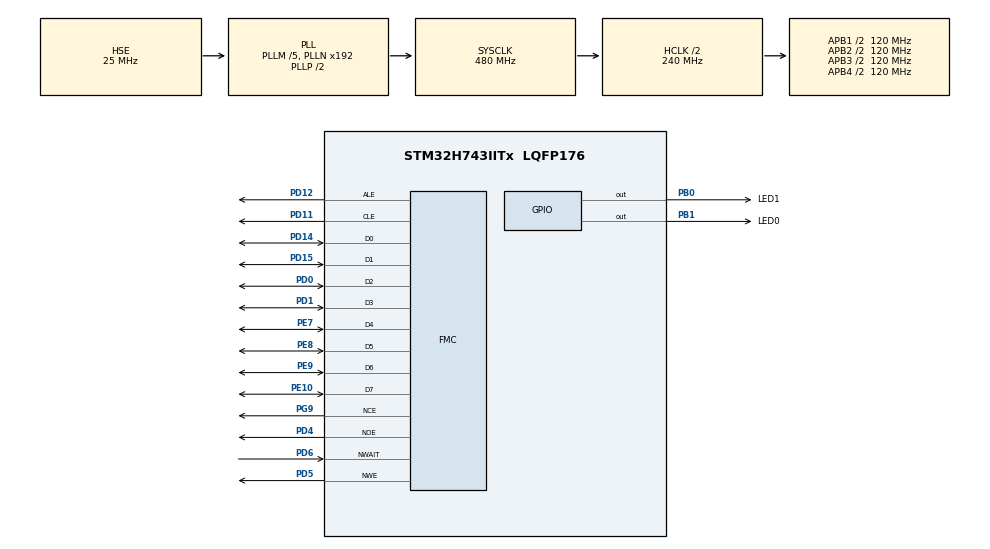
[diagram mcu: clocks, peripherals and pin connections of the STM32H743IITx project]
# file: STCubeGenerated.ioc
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CORTEX_M7.AccessPermission-Cortex_Memory_Protection_Unit_Region0_Settings=MPU_REGION_FULL_ACCESS
CORTEX_M7.BaseAddress-Cortex_Memory_Protection_Unit_Region0_Settings=0x80000000
CORTEX_M7.DisableExec-Cortex_Memory_Protection_Unit_Region0_Settings=MPU_INSTRUCTION_ACCESS_DISABLE
CORTEX_M7.Enable-Cortex_Memory_Protection_Unit_Region0_Settings=MPU_REGION_ENABLE
CORTEX_M7.IsBufferable-Cortex_Memory_Protection_Unit_Region0_Settings=MPU_ACCESS_NOT_BUFFERABLE
CORTEX_M7.MPU_Control=MPU_PRIVILEGED_DEFAULT
CORTEX_M7.Size-Cortex_Memory_Protection_Unit_Region0_Settings=MPU_REGION_SIZE_512MB
FMC.AttributeSpaceHiZSetupTime1=9
FMC.AttributeSpaceHoldSetupTime1=10
FMC.AttributeSpaceSetupTime1=9
FMC.AttributeSpaceWaitSetupTime1=9
FMC.CommonSpaceHiZSetupTime1=9
FMC.CommonSpaceHoldSetupTime1=10
FMC.CommonSpaceSetupTime1=9
FMC.CommonSpaceWaitSetupTime1=9
FMC.ECCPageSize1=FMC_NAND_ECC_PAGE_SIZE_2048BYTE
FMC.EccComputation1=FMC_NAND_ECC_ENABLE
FMC.NandBlockNbr1=4096
FMC.NandBlockSize1=64
FMC.NandExtraCommandEnable1=ENABLE
FMC.NandPageSize1=2048
FMC.NandPlaneNbr1=1
FMC.NandPlaneSize1=4096
FMC.NandSpareAreaSize1=64
FMC.TARSetupTime1=2
FMC.TCLRSetupTime1=2
FREERTOS.Tasks01=defaultTask,24,128,StartDefaultTask,Default,NULL,Dynamic,NULL,NULL
Mcu.Family=STM32H7
Mcu.Name=STM32H743IITx
Mcu.Package=LQFP176
NVIC.PriorityGroup=NVIC_PRIORITYGROUP_4
NVIC.TIM6_DAC_IRQn=true\:15\:0\:false\:false\:true\:false\:false\:true\:true
NVIC.TimeBase=TIM6_DAC_IRQn
NVIC.TimeBaseIP=TIM6
PA13\ (JTMS/SWDIO).Mode=Serial_Wire
PA13\ (JTMS/SWDIO).Signal=DEBUG_JTMS-SWDIO
PA14\ (JTCK/SWCLK).Mode=Serial_Wire
PA14\ (JTCK/SWCLK).Signal=DEBUG_JTCK-SWCLK
PB0.GPIO_Label=LED1
PB0.PinState=GPIO_PIN_SET
PB0.Signal=GPIO_Output
PB1.GPIO_Label=LED0
PB1.Signal=GPIO_Output
PD0.Signal=FMC_D2_DA2
PD1.Signal=FMC_D3_DA3
PD11.Signal=FMC_A16_CLE
PD12.Signal=FMC_A17_ALE
PD14.Signal=FMC_D0_DA0
PD15.Signal=FMC_D1_DA1
PD4.Signal=FMC_NOE
PD5.Signal=FMC_NWE
PD6.GPIO_PuPd=GPIO_PULLUP
PD6.Signal=FMC_NWAIT
PE10.Signal=FMC_D7_DA7
PE7.Signal=FMC_D4_DA4
PE8.Signal=FMC_D5_DA5
PE9.Signal=FMC_D6_DA6
PG9.Mode=NandChipSelect3_1
PG9.Signal=FMC_NCE
PH0-OSC_IN\ (PH0).Mode=HSE-External-Oscillator
PH0-OSC_IN\ (PH0).Signal=RCC_OSC_IN
PH1-OSC_OUT\ (PH1).Mode=HSE-External-Oscillator
PH1-OSC_OUT\ (PH1).Signal=RCC_OSC_OUT
ProjectManager.HeapSize=0x200
ProjectManager.StackSize=0x400
ProjectManager.TargetToolchain=MDK-ARM V5
RCC.ADCFreq_Value=260000000
RCC.APB1Freq_Value=120000000
RCC.APB2Freq_Value=120000000
RCC.APB3Freq_Value=120000000
RCC.APB4Freq_Value=120000000
RCC.CortexFreq_Value=480000000
RCC.D1PPRE=RCC_APB3_DIV2
RCC.D2PPRE1=RCC_APB1_DIV2
RCC.D2PPRE2=RCC_APB2_DIV2
RCC.D3PPRE=RCC_APB4_DIV2
RCC.DIVM1=5
RCC.DIVM2=5
RCC.DIVN1=192
RCC.DIVN2=104
RCC.FMCCLockSelection=RCC_FMCCLKSOURCE_PLL2
RCC.HCLKFreq_Value=240000000
RCC.HPRE=RCC_HCLK_DIV2
RCC.PLLSourceVirtual=RCC_PLLSOURCE_HSE
RCC.ProductRev=revV
RCC.SYSCLKFreq_VALUE=480000000
RCC.SYSCLKSource=RCC_SYSCLKSOURCE_PLLCLK
RCC.USBFreq_Value=480000000
SH.FMC_A16_CLE.0=FMC_CLE,8b-dmux1
SH.FMC_A17_ALE.0=FMC_ALE,8b-dmux1
SH.FMC_D0_DA0.0=FMC_D0,8b-dmux1
SH.FMC_D1_DA1.0=FMC_D1,8b-dmux1
SH.FMC_D2_DA2.0=FMC_D2,8b-dmux1
SH.FMC_D3_DA3.0=FMC_D3,8b-dmux1
SH.FMC_D4_DA4.0=FMC_D4,8b-dmux1
SH.FMC_D5_DA5.0=FMC_D5,8b-dmux1
SH.FMC_D6_DA6.0=FMC_D6,8b-dmux1
SH.FMC_D7_DA7.0=FMC_D7,8b-dmux1
SH.FMC_NOE.0=FMC_NOE,8b-dmux1
SH.FMC_NWAIT.0=FMC_NWAIT,Wait1
SH.FMC_NWE.0=FMC_NWE,8b-dmux1
VP_FREERTOS_VS_CMSIS_V2.Mode=CMSIS_V2
VP_SYS_VS_tim6.Mode=TIM6
board=custom

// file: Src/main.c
/* USER CODE BEGIN Header */
/**
  ******************************************************************************
  * @file           : main.c
  * @brief          : Main program body
  ******************************************************************************
  * @attention
  *
  * Copyright (c) 2024 STMicroelectronics.
  * All rights reserved.
  *
  * This software is licensed under terms that can be found in the LICENSE file
  * in the root directory of this software component.
  * If no LICENSE file comes with this software, it is provided AS-IS.
  *
  ******************************************************************************
  */
/* USER CODE END Header */
#include "main.h"
#include "cmsis_os2.h"
#include "gpio.h"
#include "fmc.h"

/* USER CODE BEGIN Includes */
#include "dbger.h"
#include "nand_flash.h"
/* USER CODE END Includes */

void SystemClock_Config(void);
static void MPU_Config(void);
void MX_FREERTOS_Init(void);

int main(void)
{
  /* USER CODE BEGIN 1 */
	MPU_Config();
  /* USER CODE END 1 */

  /* MPU Configuration--------------------------------------------------------*/
  MPU_Config();

  /* MCU Configuration--------------------------------------------------------*/

  /* Reset of all peripherals, Initializes the Flash interface and the Systick. */
  HAL_Init();

  /* Configure the system clock */
  SystemClock_Config();

  /* USER CODE BEGIN SysInit */
	LOG_INIT();
	LOG_DBG("\n\nNand Flash FS demo...\n");
  /* USER CODE END SysInit */

  /* Initialize all configured peripherals */
  MX_GPIO_Init();
  MX_FMC_Init();
  /* USER CODE BEGIN 2 */
	//NAND_FLASH_test();
  /* USER CODE END 2 */

  /* Init scheduler */
  osKernelInitialize();  /* Call init function for freertos objects (in freertos.c) */
  MX_FREERTOS_Init();

  /* Start scheduler */
  osKernelStart();
  /* We should never get here as control is now taken by the scheduler */
  /* Infinite loop */
  while (1)
  {

  }
}

void SystemClock_Config(void)
{
  RCC_OscInitTypeDef RCC_OscInitStruct = {0};
  RCC_ClkInitTypeDef RCC_ClkInitStruct = {0};

  /** Supply configuration update enable
  */
  HAL_PWREx_ConfigSupply(PWR_LDO_SUPPLY);

  /** Configure the main internal regulator output voltage
  */
  __HAL_PWR_VOLTAGESCALING_CONFIG(PWR_REGULATOR_VOLTAGE_SCALE1);

  while(!__HAL_PWR_GET_FLAG(PWR_FLAG_VOSRDY)) {}

  __HAL_RCC_SYSCFG_CLK_ENABLE();
  __HAL_PWR_VOLTAGESCALING_CONFIG(PWR_REGULATOR_VOLTAGE_SCALE0);

  while(!__HAL_PWR_GET_FLAG(PWR_FLAG_VOSRDY)) {}

  /** Initializes the RCC Oscillators according to the specified parameters
  * in the RCC_OscInitTypeDef structure.
  */
  RCC_OscInitStruct.OscillatorType = RCC_OSCILLATORTYPE_HSE;
  RCC_OscInitStruct.HSEState = RCC_HSE_ON;
  RCC_OscInitStruct.PLL.PLLState = RCC_PLL_ON;
  RCC_OscInitStruct.PLL.PLLSource = RCC_PLLSOURCE_HSE;
  RCC_OscInitStruct.PLL.PLLM = 5;
  RCC_OscInitStruct.PLL.PLLN = 192;
  RCC_OscInitStruct.PLL.PLLP = 2;
  RCC_OscInitStruct.PLL.PLLQ = 2;
  RCC_OscInitStruct.PLL.PLLR = 2;
  RCC_OscInitStruct.PLL.PLLRGE = RCC_PLL1VCIRANGE_2;
  RCC_OscInitStruct.PLL.PLLVCOSEL = RCC_PLL1VCOWIDE;
  RCC_OscInitStruct.PLL.PLLFRACN = 0;
  if (HAL_RCC_OscConfig(&RCC_OscInitStruct) != HAL_OK)
  {
    Error_Handler();
  }

  /** Initializes the CPU, AHB and APB buses clocks
  */
  RCC_ClkInitStruct.ClockType = RCC_CLOCKTYPE_HCLK|RCC_CLOCKTYPE_SYSCLK
                              |RCC_CLOCKTYPE_PCLK1|RCC_CLOCKTYPE_PCLK2
                              |RCC_CLOCKTYPE_D3PCLK1|RCC_CLOCKTYPE_D1PCLK1;
  RCC_ClkInitStruct.SYSCLKSource = RCC_SYSCLKSOURCE_PLLCLK;
  RCC_ClkInitStruct.SYSCLKDivider = RCC_SYSCLK_DIV1;
  RCC_ClkInitStruct.AHBCLKDivider = RCC_HCLK_DIV2;
  RCC_ClkInitStruct.APB3CLKDivider = RCC_APB3_DIV2;
  RCC_ClkInitStruct.APB1CLKDivider = RCC_APB1_DIV2;
  RCC_ClkInitStruct.APB2CLKDivider = RCC_APB2_DIV2;
  RCC_ClkInitStruct.APB4CLKDivider = RCC_APB4_DIV2;

  if (HAL_RCC_ClockConfig(&RCC_ClkInitStruct, FLASH_LATENCY_4) != HAL_OK)
  {
    Error_Handler();
  }
}

/* MPU Configuration */

void MPU_Config(void)
{
  MPU_Region_InitTypeDef MPU_InitStruct = {0};

  /* Disables the MPU */
  HAL_MPU_Disable();

  /** Initializes and configures the Region and the memory to be protected
  */
  MPU_InitStruct.Enable = MPU_REGION_ENABLE;
  MPU_InitStruct.Number = MPU_REGION_NUMBER0;
  MPU_InitStruct.BaseAddress = 0x80000000;
  MPU_InitStruct.Size = MPU_REGION_SIZE_512MB;
  MPU_InitStruct.SubRegionDisable = 0x0;
  MPU_InitStruct.TypeExtField = MPU_TEX_LEVEL0;
  MPU_InitStruct.AccessPermission = MPU_REGION_FULL_ACCESS;
  MPU_InitStruct.DisableExec = MPU_INSTRUCTION_ACCESS_DISABLE;
  MPU_InitStruct.IsShareable = MPU_ACCESS_NOT_SHAREABLE;
  MPU_InitStruct.IsCacheable = MPU_ACCESS_NOT_CACHEABLE;
  MPU_InitStruct.IsBufferable = MPU_ACCESS_NOT_BUFFERABLE;

  HAL_MPU_ConfigRegion(&MPU_InitStruct);
  /* Enables the MPU */
  HAL_MPU_Enable(MPU_PRIVILEGED_DEFAULT);

}

void HAL_TIM_PeriodElapsedCallback(TIM_HandleTypeDef *htim)
{
  if (htim->Instance == TIM6) {
    HAL_IncTick();
  }
}

void Error_Handler(void)
{
  __disable_irq();
  while (1)
  {
  }
}

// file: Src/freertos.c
/* USER CODE BEGIN Header */
/**
  ******************************************************************************
  * File Name          : freertos.c
  * Description        : Code for freertos applications
  ******************************************************************************
  * @attention
  *
  * Copyright (c) 2024 STMicroelectronics.
  * All rights reserved.
  *
  * This software is licensed under terms that can be found in the LICENSE file
  * in the root directory of this software component.
  * If no LICENSE file comes with this software, it is provided AS-IS.
  *
  ******************************************************************************
  */
/* USER CODE END Header */

#include "FreeRTOS.h"
#include "task.h"
#include "main.h"
#include "cmsis_os2.h"

/* Definitions for defaultTask */
osThreadId_t defaultTaskHandle;
const osThreadAttr_t defaultTask_attributes = {
  .name = "defaultTask",
  .stack_size = 128 * 4,
  .priority = (osPriority_t) osPriorityNormal,
};

void StartDefaultTask(void *argument);

void MX_FREERTOS_Init(void); /* (MISRA C 2004 rule 8.1) */

void MX_FREERTOS_Init(void) {

  /* Create the thread(s) */
  /* creation of defaultTask */
  defaultTaskHandle = osThreadNew(StartDefaultTask, NULL, &defaultTask_attributes);

}

/* USER CODE BEGIN Header_StartDefaultTask */
/**
  * @brief  Function implementing the defaultTask thread.
  * @param  argument: Not used
  * @retval None
  */
#include "dbger.h"
#include "nand_flash_fs_interface.h"
/* USER CODE END Header_StartDefaultTask */
void StartDefaultTask(void *argument)
{
  /* USER CODE BEGIN StartDefaultTask */
	init_filesystem(0);

	char buf[256] = {0};
	strcpy(buf, "This is a test string by shadow3d.\n\t\t\t-- 20240526 03:59:23 AM\n");
	write_file("test.txt", (uint8_t*)buf, strlen(buf));
	read_file("test.txt", (uint8_t*)buf, sizeof(buf));
	//osDelay(100);
	show_dir("");
	show_dir("*");
	fmkdir("DATA");
	fchdir("DATA");
	fmkdir("test_dir");
	write_file("data.csv", (uint8_t*)buf, strlen(buf));
	show_dir("*");
	fchdir("..");		// fchdir(""); can NOT work
	show_dir("*");
	//osDelay(100);
	show_dir("N0:*.txt");

	frmdir("DATA", "/S");
	fdelete("test.txt", NULL);
	show_dir("*");
  /* Infinite loop */
  for(;;)
  {
		HAL_GPIO_TogglePin(LED0_GPIO_Port, LED0_Pin);
		HAL_GPIO_TogglePin(LED1_GPIO_Port, LED1_Pin);
    osDelay(500);
  }
  /* USER CODE END StartDefaultTask */
}
